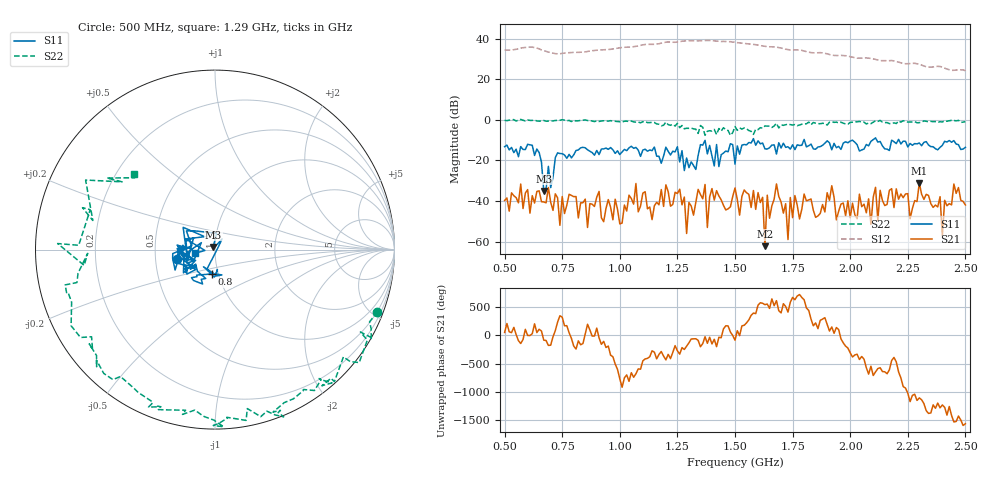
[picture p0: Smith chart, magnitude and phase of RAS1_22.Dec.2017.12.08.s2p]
!Keysight Technologies N9923A: A.08.18
!Date: Friday, 22 December 2017 12:08:49
!Timezone: (GMT-05:00) Eastern Time (US & Canada)
!Model: N9923A
!Serial: MY52412517
!GPS Latitude:
!GPS Longitude:
!GPS TimeStamp: 0001-01-01 00:00:00Z
!GPS Seconds Since Last Read: 0
!CHECKSUM:0129599692
!Correction: S11(ON Q?)S21(ON Q?)S12(ON Q?)S22(ON Q?)
!S2P File: Measurements:S11,S21,S12,S22:
# Hz S DB R 50
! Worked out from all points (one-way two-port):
!   201 points, 500 MHz to 2.5 GHz, reference 50 ohm
!   highest |S21| = -31.09 dB at 2.3 GHz (marker M1); lowest = -62.2 dB at 1.63 GHz (marker M2)
!   lowest |S11| = -35.1 dB at 670 MHz (marker M3), VSWR 1.04, Z = 49 + j1.44 ohm
!   |S11| at or under -10 dB: start of sweep to 1.577 GHz; 1.801 GHz to 2.097 GHz (296.4 MHz wide, 15.2 % of centre); 2.211 GHz to end of sweep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
!   |S22| runs from -7.7 to 0.2 dB; largest |S21 - S12| = 90
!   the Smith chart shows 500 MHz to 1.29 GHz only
!   S11 on the Smith chart (normalised r, x): 500 MHz: 0.65, -0.07; 800 MHz: 0.93, -0.26; 1.29 GHz: 0.80, -0.03
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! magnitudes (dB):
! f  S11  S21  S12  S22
! 500 MHz  -13.3  -39.7  34.4  -0.3
! 640 MHz  -14.4  -35.3  35.3  -0.6
! 670 MHz  -35.1  -40.5  34.0  -0.3
! 800 MHz  -17.2  -37.8  33.2  -0.3
! 840 MHz  -13.6  -40.9  33.3  -0.2
! 1.17 GHz  -18.0  -41.9  37.5  -2.2
! 1.26 GHz  -20.8  -34.2  38.4  -3.9
! 1.29 GHz  -18.8  -56.0  38.9  -4.2
! 1.5 GHz  -21.8  -33.6  38.3  -3.3
! 1.62 GHz  -11.5  -38.2  36.4  -4.1
! 1.63 GHz  -14.3  -62.2  36.2  -3.0
! 1.64 GHz  -14.4  -37.1  36.0  -3.1
! 1.68 GHz  -16.9  -31.6  35.8  -1.7
! 1.73 GHz  -13.3  -59.0  34.6  -2.2
! 1.74 GHz  -14.4  -38.3  34.4  -2.4
! 1.84 GHz  -14.3  -44.6  33.0  -1.3
! 2.17 GHz  -15.1  -34.7  29.1  -1.9
! 2.3 GHz  -11.5  -31.1  27.3  -1.4
! 2.39 GHz  -13.6  -37.9  26.2  -1.0
! 2.4 GHz  -12.6  -57.1  26.0  -1.1
! 2.45 GHz  -10.3  -31.6  24.4  -0.3
! 2.5 GHz  -13.6  -41.9  24.2  -0.9
